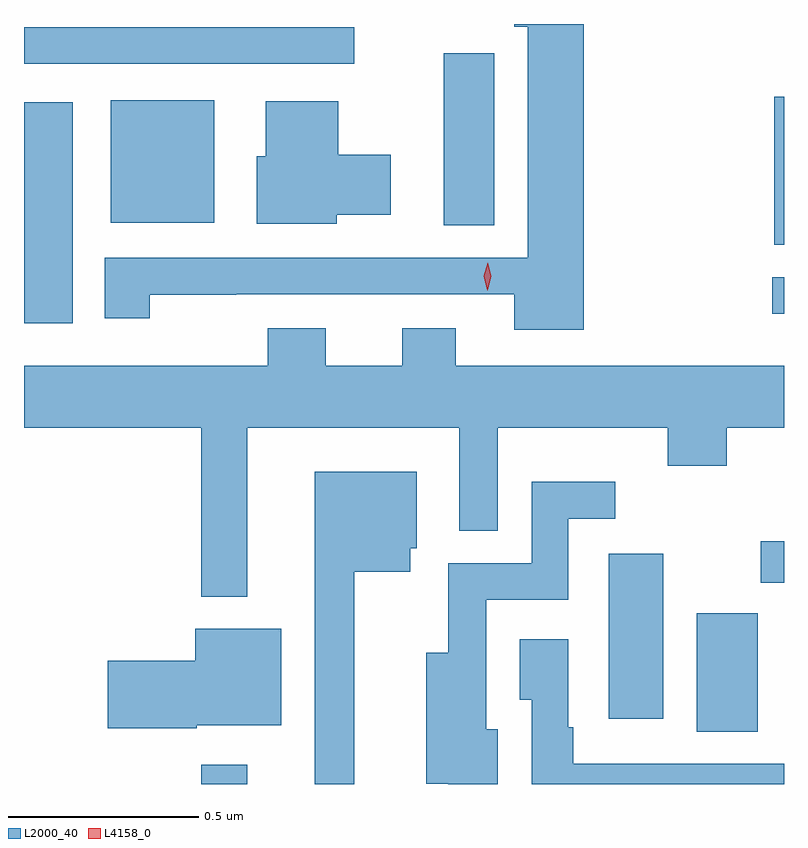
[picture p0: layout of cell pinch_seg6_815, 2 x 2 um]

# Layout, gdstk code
import gdstk
lib = gdstk.Library(unit=1e-6, precision=1e-09)
def R(c, l, rs):  # rectangles x0, y0, x1, y1
    for r in rs: c.add(gdstk.rectangle(r[:2], r[2:], *l))
def P(c, l, *ps):  # polygons
    for p in ps: c.add(gdstk.Polygon(p, *l))
L2000_40 = (2000, 40)
L4158_0 = (4158, 0)

pinch_seg6_815 = lib.new_cell('pinch_seg6_815')
R(pinch_seg6_815, L2000_40, [(365.622,963.715,365.743,963.766), (366.926,963.853,367.087,964.164), (366.695,963.887,366.838,964.321), (367.095,964.245,367.156,964.354), (365.156,964.928,365.284,965.509), (367.125,964.952,367.156,965.049), (367.13,965.134,367.156,965.524), (366.26,965.185,366.394,965.638), (365.384,965.192,365.656,965.515), (365.156,965.61,366.025,965.706)])
P(pinch_seg6_815, L2000_40, [(366.629,965.715),(366.446,965.715),(366.446,965.708),(366.482,965.708),(366.482,965.1),(365.369,965.1),(365.369,964.941),(365.487,964.941),(365.487,965.003),(365.714,965.003),(365.714,965.004),(366.446,965.004),(366.446,964.91),(366.629,964.91)],
  [(365.979,965.213),(366.121,965.213),(366.121,965.371),(365.983,965.371),(365.983,965.512),(365.792,965.512),(365.792,965.367),(365.768,965.367),(365.768,965.189),(365.979,965.189)],
  [(365.156,964.652),(365.622,964.652),(365.622,964.208),(365.743,964.208),(365.743,964.652),(366.302,964.652),(366.302,964.381),(366.403,964.381),(366.403,964.652),(366.85,964.652),(366.85,964.553),(367.005,964.553),(367.005,964.652),(367.156,964.652),(367.156,964.816),(366.292,964.816),(366.292,964.915),(366.152,964.915),(366.152,964.816),(365.95,964.816),(365.95,964.915),(365.798,964.915),(365.798,964.816),(365.156,964.816)],
  [(366.025,964.274),(366.172,964.274),(366.172,964.335),(366.19,964.335),(366.19,964.537),(365.921,964.537),(365.921,963.715),(366.025,963.715)],
  [(366.403,963.859),(366.373,963.859),(366.373,964.2),(366.588,964.2),(366.588,964.413),(366.712,964.413),(366.712,964.51),(366.492,964.51),(366.492,964.296),(366.272,964.296),(366.272,964.06),(366.215,964.06),(366.215,963.716),(366.272,963.716),(366.272,963.715),(366.403,963.715)],
  [(365.61,963.869),(365.833,963.869),(365.833,964.123),(365.606,964.123),(365.606,964.04),(365.376,964.04),(365.376,963.862),(365.61,963.862)],
  [(367.156,963.768),(366.601,963.768),(366.601,963.865),(366.588,963.865),(366.588,964.096),(366.461,964.096),(366.461,963.937),(366.492,963.937),(366.492,963.715),(367.156,963.715)])
P(pinch_seg6_815, L4158_0, [(366.375,965.015),(366.366,965.051),(366.376,965.087),(366.376,965.087),(366.376,965.087),(366.386,965.051),(366.376,965.015),(366.376,965.015)])

lib.write_gds('pinch_seg6_815.gds')
